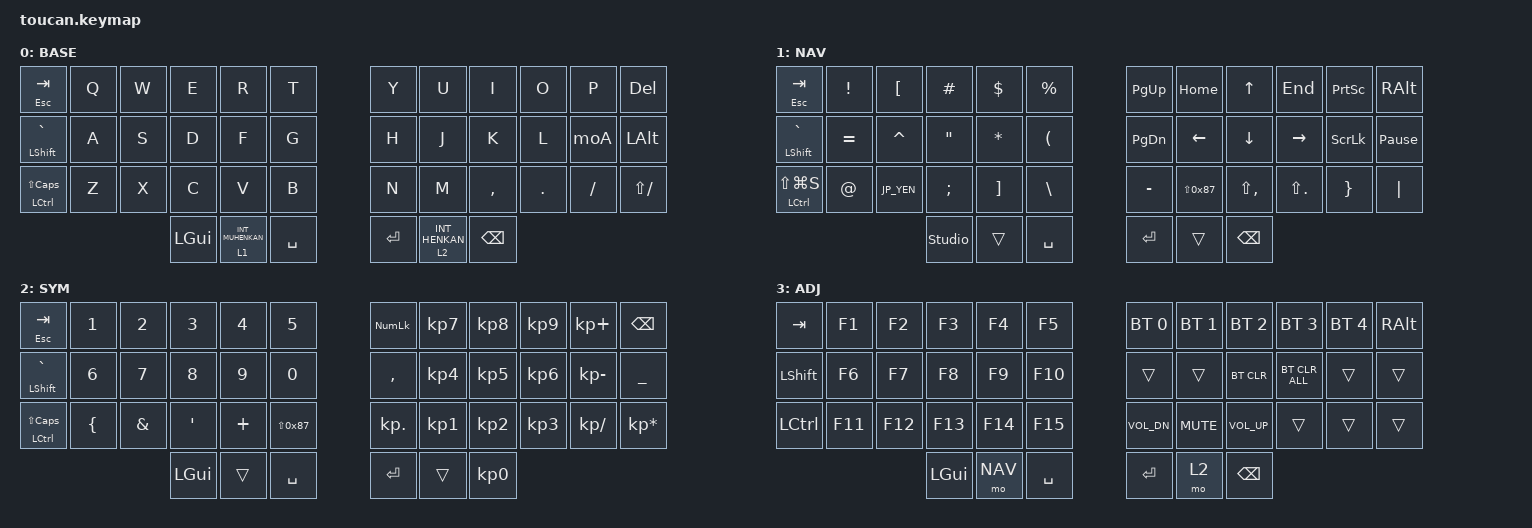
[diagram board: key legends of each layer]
#include <behaviors.dtsi>
#include <dt-bindings/zmk/bt.h>
#include <dt-bindings/zmk/keys.h>

#define BASE 0
#define NAV  1
#define SYM  2
#define ADJ  3
#define MOUSE 6
#define JP_DQUOTE       AT                // "
#define JP_AMPERSAND    CARET             // &
#define JP_QUOTE        AMPERSAND         // '
#define JP_EQUAL        UNDER             // =
#define JP_CARET        EQUAL             // ^
#define JP_YEN          0x89              // ¥
#define JP_PLUS         COLON             // +
#define JP_TILDE        PLUS              // ~
#define JP_PIPE         LS(0x89)          // |
#define JP_AT           LEFT_BRACKET      // @
#define JP_COLON        SINGLE_QUOTE      // :
#define JP_ASTERISK     DOUBLE_QUOTES     // *
#define JP_BACKQUOTE    LEFT_BRACE        // `
#define JP_UNDERSCORE   LS(0x87)          // _
#define JP_LBRACKET     RIGHT_BRACKET     // [
#define JP_RBRACKET     BACKSLASH         // ]
#define JP_LPAREN       ASTERISK          // (
#define JP_RPAREN       LEFT_PARENTHESIS  // )
#define JP_LBRACE       RIGHT_BRACE       // {
#define JP_RBRACE       PIPE              // }
#define JP_KANA         LANGUAGE_1        // かな
#define JP_EISU         LANGUAGE_2        // 英数
#define JP_HANZEN       GRAVE             // 半角/全角
#define JP_BSLH         INT1              // (backslash)
#define JP_LESS_THAN    LS(COMMA)         // <
#define JP_GREATER_THAN LS(DOT)           // >

/ {
    conditional_layers {
        compatible = "zmk,conditional-layers";

        tri_layer {
            if-layers = <1 2>;
            then-layer = <3>;
        };
    };

    moA: moA {
        compatible = "zmk,behavior-mod-morph";
        #binding-cells = <0>;
        bindings = <&kp MINUS>, <&kp UNDERSCORE>;

        mods = <(MOD_LSFT|MOD_RSFT)>;
    };

    moB: moB {
        compatible = "zmk,behavior-mod-morph";
        #binding-cells = <0>;
        bindings = <&kp EQUAL>, <&kp PLUS>;

        mods = <(MOD_LSFT|MOD_RSFT)>;
    };

    moC: moC {
        compatible = "zmk,behavior-mod-morph";
        #binding-cells = <0>;
        bindings = <&kp INT3>, <&kp JP_PIPE>;

        mods = <(MOD_LSFT|MOD_RSFT)>;
    };

    moD: moD {
        compatible = "zmk,behavior-mod-morph";
        #binding-cells = <0>;
        bindings = <&kp LBKT>, <&kp LBRC>;

        mods = <(MOD_LSFT|MOD_RSFT)>;
    };

    moE: moE {
        compatible = "zmk,behavior-mod-morph";
        #binding-cells = <0>;
        bindings = <&kp RBKT>, <&kp RBRC>;

        mods = <(MOD_LSFT|MOD_RSFT)>;
    };

    moF: moF {
        compatible = "zmk,behavior-mod-morph";
        #binding-cells = <0>;
        bindings = <&kp SEMI>, <&kp KP_PLUS>;

        mods = <(MOD_LSFT|MOD_RSFT)>;
    };

    moG: moG {
        compatible = "zmk,behavior-mod-morph";
        #binding-cells = <0>;
        bindings = <&kp APOSTROPHE>, <&kp DQT>;

        mods = <(MOD_LSFT|MOD_RSFT)>;
    };

    moH: moH {
        compatible = "zmk,behavior-mod-morph";
        #binding-cells = <0>;
        bindings = <&kp BACKSLASH>, <&kp TILDE2>;

        mods = <(MOD_LSFT|MOD_RSFT)>;
    };

    moI: moI {
        compatible = "zmk,behavior-mod-morph";
        #binding-cells = <0>;
        bindings = <&kp JP_BSLH>, <&kp JP_UNDERSCORE>;

        mods = <(MOD_LSFT|MOD_RSFT)>;
    };

    behaviors {
        // カスタムHold-Tapの名前を定義
        lt_nav_muhenkan: lt_nav_muhenkan {
            compatible = "zmk,behavior-hold-tap";
            label = "LT_NAV_MUHENKAN";
            #binding-cells = <2>;
            tapping-term-ms = <200>;      // 判定時間（好みに合わせて150〜200で調整）
            quick-tap-ms = <200>;        // 連続タップ時はタップ（無変換）を優先
            flavor = "hold-preferred";    // 迷ったらホールド（レイヤー）を優先する設定
            bindings = <&mo>, <&kp>;
        };
    };
    behaviors {
        // カスタムHold-Tapの名前を定義
        lt_sys_henkan: lt_sys_henkan {
            compatible = "zmk,behavior-hold-tap";
            label = "LT_SYS_HENKAN";
            #binding-cells = <2>;
            tapping-term-ms = <200>;      // 判定時間（好みに合わせて150〜200で調整）
            quick-tap-ms = <200>;        // 連続タップ時はタップ（無変換）を優先
            flavor = "hold-preferred";    // 迷ったらホールド（レイヤー）を優先する設定
            bindings = <&mo>, <&kp>;
        };
    };

    behaviors {
        // 短押しでTAB、長押しでESCを送信する設定
        tab_esc: tab_esc_behavior {
            compatible = "zmk,behavior-hold-tap";
            label = "TAB_ESC";
            #binding-cells = <2>;
            tapping-term-ms = <200>;   // 長押しと判定する時間（ミリ秒）
            quick-tap-ms = <200>;     // TABを素早く連打できるようにする設定
            flavor = "tap-preferred";  // 誤入力を防ぐためタップを優先
            bindings = <&kp>, <&kp>;
        };
    };

    behaviors {
        // 短押しで半角/全角(JP_HANZEN)、長押しでLSHIFTを送信する設定
        jis_shft: jis_shft_behavior {
            compatible = "zmk,behavior-hold-tap";
            label = "JIS_SHFT";
            #binding-cells = <2>;
            tapping-term-ms = <200>;      // 長押しと判定する時間（ミリ秒）
            quick-tap-ms = <0>;           // 誤判定を防ぐため修飾キーホールド時は0を推奨
            flavor = "balanced";          // Shiftを他の文字と同時押しした時に確実に機能させる
            bindings = <&kp>, <&kp>;
        };
    };

    behaviors {
        // 短押しでCAPS、長押しでLCTRLを送信する設定
        caps_ctrl: caps_ctrl_behavior {
            compatible = "zmk,behavior-hold-tap";
            label = "CAPS_CTRL";
            #binding-cells = <2>;
            tapping-term-ms = <200>;      // 長押しと判定する時間（ミリ秒）
            quick-tap-ms = <0>;           // 誤判定を防ぐため修飾キーホールド時は0を推奨
            flavor = "hold-preferred";          // ショートカット操作時に確実にCTRLを機能させる
            bindings = <&kp>, <&kp>;
        };
    };

    combos {
        compatible = "zmk,combos";

        CONBO_ESC {
            bindings = <&kp ESCAPE>;
            key-positions = <0 1>;
        };

        COMBO_JP_HANZEN {
            bindings = <&kp JP_HANZEN>;
            key-positions = <12 13>;
        };

        COMBO_CAPS {
            bindings = <&kp LS(CAPS)>;
            key-positions = <24 25>;
        };
    };

    keymap {
        compatible = "zmk,keymap";

        base {
            display-name = "BASE";
            bindings = <

            // -----------------------------------------------------------------------------------------
            // | TAB |  Q  |  W  |  E  |  R  |  T  |           |  Y  |  U  |  I  |  O  |  P  | DEL |
            // | ESC
            // |半/全|  A  |  S  |  D  |  F  |  G  |           |  H  |  J  |  K  |  L  |  -  | ALT | 
            // |SHIFT    
            // |CAPS |  Z  |  X  |  C  |  V  |  B  |           |  N  |  M  |  ,  |  .  |  /  |  ?  |
            // |CTRL
            //                        | WIN | nav |PACE|    | ENT | SYS | BS | 
            //                              MUHENKAN                HENKAN

&tab_esc ESCAPE TAB  &kp Q  &kp W  &kp E  &kp R  &kp T  &kp Y  &kp U  &kp I  &kp O  &kp P  &kp DEL
&jis_shft LSHIFT JP_HANZEN  &kp A  &kp S  &kp D  &kp F  &kp G  &kp H  &kp J  &kp K  &kp L  &moA  &kp LALT  
&caps_ctrl LCTRL LS(CAPS)  &kp Z  &kp X  &kp C  &kp V  &kp B  &kp N  &kp M  &kp COMMA  &kp DOT  &kp FSLH  &kp  LS(FSLH) 
&kp LGUI  &lt_nav_muhenkan 1 INT_MUHENKAN  &kp SPACE  &kp RET  &lt_sys_henkan 2 INT_HENKAN  &kp BSPC
            >;
        };

        nav {
            display-name = "NAV";
            bindings = <

            // | TAB |  !  |  @  |  #  |  $  |  %  |           |PAGE_UP  |HOME |  ↑  | END | PRSC | ALT   |
            // | ESC
            // |半/全|  ^  |  &  |  *  |  (  |  )  |           |PAGE_DOWN|  ←  |  ↓  |  →  | SCLK |PAUSE_BREAK|
            // | SHIFT  
            // |GCOPY|  "  |  ¥  |  ;  |  [  |  ]  |           |  　-    |  _  |  <  |  >  |   {  |   }  |
            // | CTRL   
            //                        | unlock | nav |SPACE|    | ENT | sys | BS |    

&tab_esc ESCAPE TAB  &kp EXCLAMATION  &kp JP_AT &kp HASH &kp DOLLAR &kp PERCENT   &kp PAGE_UP  &kp HOME  &kp UP_ARROW  &kp END  &kp PRINTSCREEN   &kp RALT 
&jis_shft LSHIFT JP_HANZEN  &kp JP_CARET  &kp JP_AMPERSAND  &kp JP_ASTERISK  &kp JP_LPAREN  &kp JP_RPAREN  &kp PAGE_DOWN  &kp LEFT  &kp DOWN_ARROW  &kp RIGHT  &kp SCROLLLOCK  &kp PAUSE_BREAK  
&caps_ctrl LCTRL LS(LG(S))  &kp JP_DQUOTE  &kp JP_YEN  &kp SEMI  &kp JP_LBRACKET  &kp JP_RBRACKET  &kp MINUS  &kp JP_UNDERSCORE  &kp JP_LESS_THAN  &kp JP_GREATER_THAN &kp JP_LBRACE  &kp JP_RBRACE    
&studio_unlock  &trans  &kp SPACE  &kp RET  &trans  &kp BSPC
            >;
        };

        sym {
            display-name = "SYM";
            bindings = <

            // | TAB |  1  |  2  |  3  |  4  |  5  |     　   |NUMLOCK|  7  |  8  |  9  |  + |  BS |
            // |ESC
            // |半/全|  6  |  7  |  8  |  9  |  0  |    　　   |   ,  |  4  |  5  |  6  |  - |  =  |
            // |SHIFT  
            // |CAPS |  `  |  '  |  :  |  ~  |  _  |     　    |   .  |  1  |  2  |  3  |  / |  *  |
            // |CTRL 
            //                　   | WIN  | nav | SPACE|   | ENT | sys |  0   |   

&tab_esc ESCAPE TAB  &kp N1  &kp N2  &kp N3  &kp N4  &kp N5  &kp KP_NUMLOCK  &kp KP_NUMBER_7  &kp KP_NUMBER_8  &kp KP_NUMBER_9  &kp KP_PLUS  &kp BSPC  
&jis_shft LSHIFT JP_HANZEN  &kp N6  &kp NUMBER_7  &kp NUMBER_8  &kp NUMBER_9  &kp NUMBER_0  &kp COMMA  &kp KP_NUMBER_4  &kp KP_NUMBER_5  &kp KP_NUMBER_6  &kp KP_MINUS  &kp JP_EQUAL  
&caps_ctrl LCTRL LS(CAPS)  &kp JP_BACKQUOTE  &kp JP_QUOTE &kp JP_COLON  &kp JP_TILDE  &kp JP_UNDERSCORE  &kp KP_DOT  &kp KP_NUMBER_1  &kp KP_NUMBER_2  &kp KP_NUMBER_3 &kp KP_DIVIDE &kp KP_ASTERISK    
&kp LGUI  &trans  &kp SPACE  &kp RET  &trans  &kp KP_NUMBER_0
            >;
        };

        adj {
            display-name = "ADJ";
            bindings = <

            // | TAB |  F1  |  F2  |  F3  |  F4  |  F5  |           | BT0 | BT1 | BT2 | BT3 |  BT4   | ALT |
            // |    ESC
            // |SHIFT|  F6  |  F7  |  F8  |  F9  |  F0  |           |     |     |BTCLR|BTallCLR|     |     |
            // |    半/全
            // |CTRL |  F11  | F12 |      |      |      |           |     |     |     |     |        |     |
            // |    CAPS
            //                        | WIN | nav | SPACE |    | ENT | sys |  BS |   

&kp TAB  &kp F1  &kp F2  &kp F3  &kp F4  &kp F5  &bt BT_SEL 0  &bt BT_SEL 1  &bt BT_SEL 2  &bt BT_SEL 3  &bt BT_SEL 4   &kp RALT 
&kp LEFT_SHIFT  &kp F6  &kp F7  &kp F8  &kp F9  &kp F10  &trans  &trans  &bt BT_CLR  &bt BT_CLR_ALL  &trans  &trans  
&kp LCTRL  &kp F11  &kp F12  &kp F13  &kp F14  &kp F15  &kp C_VOL_DN &kp C_MUTE  &kp C_VOL_UP  &trans  &trans  &trans  
&kp LGUI  &mo NAV  &kp SPACE  &kp RET  &mo 2  &kp BSPC
            >;
        };

        extra_1 { status = "reserved"; };

        extra_2 { status = "reserved"; };

        extra_3 { status = "reserved"; };
    };
};
